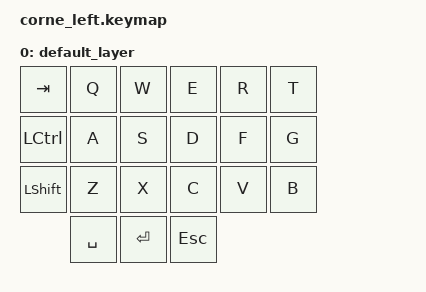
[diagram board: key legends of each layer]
/ {
    keymap {
        compatible = "zmk,keymap";

        default_layer {
            bindings = <
                &kp TAB    &kp Q    &kp W    &kp E    &kp R    &kp T
                &kp LCTRL  &kp A    &kp S    &kp D    &kp F    &kp G
                &kp LSHFT  &kp Z    &kp X    &kp C    &kp V    &kp B
                          &kp SPACE &kp RET  &kp ESC
            >;
        };
    };
};
